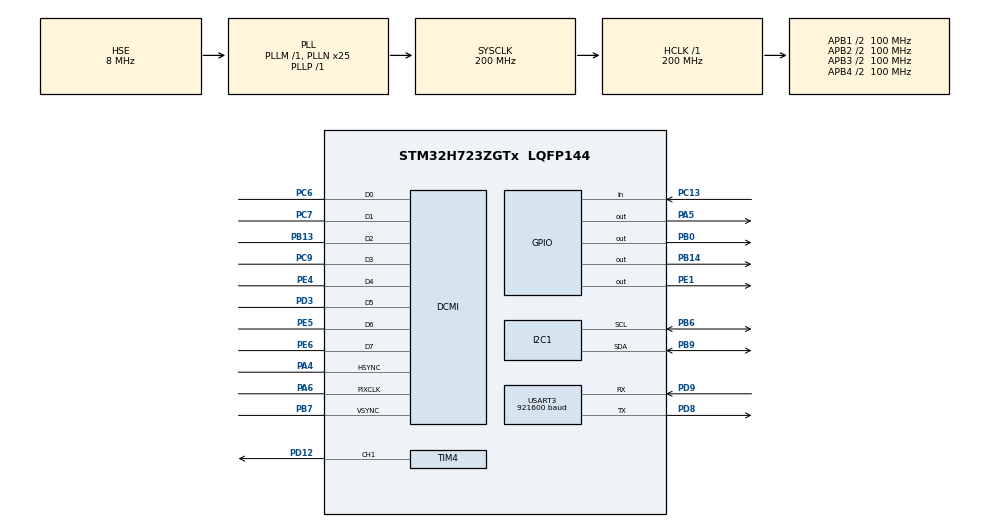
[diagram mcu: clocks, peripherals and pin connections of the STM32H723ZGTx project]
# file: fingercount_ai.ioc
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CORTEX_M7.CPU_DCache=Enabled
CORTEX_M7.CPU_ICache=Enabled
CORTEX_M7.default_mode_Activation=1
DCMI.PCKPolarity=DCMI_PCKPOLARITY_RISING
DCMI.VSPolarity=DCMI_VSPOLARITY_HIGH
Dma.DCMI.0.Direction=DMA_PERIPH_TO_MEMORY
Dma.DCMI.0.EventEnable=DISABLE
Dma.DCMI.0.FIFOMode=DMA_FIFOMODE_DISABLE
Dma.DCMI.0.Instance=DMA1_Stream0
Dma.DCMI.0.MemDataAlignment=DMA_MDATAALIGN_WORD
Dma.DCMI.0.MemInc=DMA_MINC_ENABLE
Dma.DCMI.0.Mode=DMA_NORMAL
Dma.DCMI.0.PeriphDataAlignment=DMA_PDATAALIGN_WORD
Dma.DCMI.0.PeriphInc=DMA_PINC_DISABLE
Dma.DCMI.0.Polarity=HAL_DMAMUX_REQ_GEN_RISING
Dma.DCMI.0.Priority=DMA_PRIORITY_HIGH
Dma.DCMI.0.RequestNumber=1
Dma.DCMI.0.SignalID=NONE
Dma.DCMI.0.SyncEnable=DISABLE
Dma.DCMI.0.SyncPolarity=HAL_DMAMUX_SYNC_NO_EVENT
Dma.DCMI.0.SyncRequestNumber=1
Dma.DCMI.0.SyncSignalID=NONE
Dma.Request0=DCMI
FREERTOS.Tasks01=defaultTask,24,128,StartDefaultTask,Default,NULL,Dynamic,NULL,NULL;ledTask01,8,256,StartTask_Led,Default,NULL,Dynamic,NULL,NULL;aiTask02,8,512,StartTask_AI,Default,NULL,Dynamic,NULL,NULL
I2C1.Timing=0x10C0ECFF
Mcu.Family=STM32H7
Mcu.Name=STM32H723ZGTx
Mcu.Package=LQFP144
NUCLEO-H723ZG.BUTTON=1
NUCLEO-H723ZG.LD1=true
NUCLEO-H723ZG.LD2=true
NUCLEO-H723ZG.LD3=true
NUCLEO-H723ZG.VCP=false
NVIC.DCMI_PSSI_IRQn=true\:5\:0\:false\:false\:true\:true\:true\:true\:true
NVIC.DMA1_Stream0_IRQn=true\:5\:0\:false\:false\:true\:true\:false\:true\:true
NVIC.EXTI15_10_IRQn=true\:5\:0\:false\:false\:true\:true\:false\:true\:true
NVIC.PriorityGroup=NVIC_PRIORITYGROUP_4
PA13(JTMS/SWDIO).GPIO_Label=SWDIO
PA13(JTMS/SWDIO).Signal=DEBUG_JTMS-SWDIO
PA14(JTCK/SWCLK).GPIO_Label=SWCLK
PA14(JTCK/SWCLK).Signal=DEBUG_JTCK-SWCLK
PA4.Mode=Slave_8_bits_External_Synchro
PA4.Signal=DCMI_HSYNC
PA5.Signal=GPIO_Output
PA6.Mode=Slave_8_bits_External_Synchro
PA6.Signal=DCMI_PIXCLK
PB0.Signal=GPIO_Output
PB13.Mode=Slave_8_bits_External_Synchro
PB13.Signal=DCMI_D2
PB14.Signal=GPIO_Output
PB6.GPIO_Pu=GPIO_PULLUP
PB6.Mode=I2C
PB6.Signal=I2C1_SCL
PB7.Mode=Slave_8_bits_External_Synchro
PB7.Signal=DCMI_VSYNC
PB9.GPIO_Pu=GPIO_PULLUP
PB9.Mode=I2C
PB9.Signal=I2C1_SDA
PC13.Signal=GPIO_Input
PC14-OSC32_IN.Signal=RCC_OSC32_IN
PC15-OSC32_OUT.Signal=RCC_OSC32_OUT
PC6.Mode=Slave_8_bits_External_Synchro
PC6.Signal=DCMI_D0
PC7.Mode=Slave_8_bits_External_Synchro
PC7.Signal=DCMI_D1
PC9.Mode=Slave_8_bits_External_Synchro
PC9.Signal=DCMI_D3
PD12.Signal=S_TIM4_CH1
PD3.Mode=Slave_8_bits_External_Synchro
PD3.Signal=DCMI_D5
PD8.Mode=Asynchronous
PD8.Signal=USART3_TX
PD9.Mode=Asynchronous
PD9.Signal=USART3_RX
PE1.Signal=GPIO_Output
PE4.Mode=Slave_8_bits_External_Synchro
PE4.Signal=DCMI_D4
PE5.Mode=Slave_8_bits_External_Synchro
PE5.Signal=DCMI_D6
PE6.Mode=Slave_8_bits_External_Synchro
PE6.Signal=DCMI_D7
PH0-OSC_IN.Mode=HSE-External-Clock-Source
PH0-OSC_IN.Signal=RCC_OSC_IN
ProjectManager.HeapSize=0x800
ProjectManager.StackSize=0x800
ProjectManager.TargetToolchain=STM32CubeIDE
RCC.ADCFreq_Value=76000000
RCC.APB1Freq_Value=100000000
RCC.APB2Freq_Value=100000000
RCC.APB3Freq_Value=100000000
RCC.APB4Freq_Value=100000000
RCC.CortexFreq_Value=200000000
RCC.D1PPRE=RCC_APB3_DIV2
RCC.D2PPRE1=RCC_APB1_DIV2
RCC.D2PPRE2=RCC_APB2_DIV2
RCC.D3PPRE=RCC_APB4_DIV2
RCC.DIVM1=1
RCC.DIVM2=1
RCC.DIVN1=25
RCC.DIVN2=19
RCC.DIVP1=1
RCC.DIVQ1=4
RCC.HCLKFreq_Value=200000000
RCC.HSE_VALUE=8000000
RCC.PLL2FRACN=0
RCC.PLL3FRACN=0
RCC.PLLFRACN=0
RCC.PLLSourceVirtual=RCC_PLLSOURCE_HSE
RCC.SYSCLKFreq_VALUE=200000000
RCC.SYSCLKSource=RCC_SYSCLKSOURCE_PLLCLK
RCC.USBCLockSelection=RCC_USBCLKSOURCE_HSI48
RCC.USBFreq_Value=48000000
SH.S_TIM4_CH1.0=TIM4_CH1,PWM Generation1 CH1
STMicroelectronics.X-CUBE-AI.10.2.0.ActivationBufferSizeList=48432
STMicroelectronics.X-CUBE-AI.10.2.0.ActivationBuffers=pool0
STMicroelectronics.X-CUBE-AI.10.2.0.ActivationNames=pool0
STMicroelectronics.X-CUBE-AI.10.2.0.ActivationSizes=AI_NETWORK_DATA_ACTIVATION_1_SIZE
STMicroelectronics.X-CUBE-AI.10.2.0.HeapSize=0x800
STMicroelectronics.X-CUBE-AI.10.2.0.InternalRamActivationBufferMaxSize=AI_NETWORK_DATA_ACTIVATIONS_SIZE
STMicroelectronics.X-CUBE-AI.10.2.0.LatestDirectoryUsed-99570b1be554b7fa2a6b14e97a9e13e3332e7accc0931dcad5117edd68cd8eb1=/home/we/STM32CubeIDE/workspace_1.19.0/python/creation_models_py/src/models
STMicroelectronics.X-CUBE-AI.10.2.0.MaximumNumberOfInputLayer=1
STMicroelectronics.X-CUBE-AI.10.2.0.MaximumNumberOfOutputLayer=1
STMicroelectronics.X-CUBE-AI.10.2.0.MaximumSizeOfInputLayer=1
STMicroelectronics.X-CUBE-AI.10.2.0.MaximumSizeOfOutputLayer=1
STMicroelectronics.X-CUBE-AI.10.2.0.ModelActualCompression-99570b1be554b7fa2a6b14e97a9e13e3332e7accc0931dcad5117edd68cd8eb1=0.0
STMicroelectronics.X-CUBE-AI.10.2.0.ModelCompression-99570b1be554b7fa2a6b14e97a9e13e3332e7accc0931dcad5117edd68cd8eb1=None
STMicroelectronics.X-CUBE-AI.10.2.0.ModelFlashOccupation-99570b1be554b7fa2a6b14e97a9e13e3332e7accc0931dcad5117edd68cd8eb1=463392
STMicroelectronics.X-CUBE-AI.10.2.0.ModelHashList=99570b1be554b7fa2a6b14e97a9e13e3332e7accc0931dcad5117edd68cd8eb1
STMicroelectronics.X-CUBE-AI.10.2.0.ModelKind-99570b1be554b7fa2a6b14e97a9e13e3332e7accc0931dcad5117edd68cd8eb1=TFLITE
STMicroelectronics.X-CUBE-AI.10.2.0.ModelMacc-99570b1be554b7fa2a6b14e97a9e13e3332e7accc0931dcad5117edd68cd8eb1=18615568
STMicroelectronics.X-CUBE-AI.10.2.0.ModelName-99570b1be554b7fa2a6b14e97a9e13e3332e7accc0931dcad5117edd68cd8eb1=network
STMicroelectronics.X-CUBE-AI.10.2.0.ModelNameList=network
STMicroelectronics.X-CUBE-AI.10.2.0.ModelRamOccupation-99570b1be554b7fa2a6b14e97a9e13e3332e7accc0931dcad5117edd68cd8eb1=48432
STMicroelectronics.X-CUBE-AI.10.2.0.ModelStructureFile-99570b1be554b7fa2a6b14e97a9e13e3332e7accc0931dcad5117edd68cd8eb1=/home/we/STM32CubeIDE/workspace_1.19.0/python/creation_models_py/src/models/finger_int8.tflite
STMicroelectronics.X-CUBE-AI.10.2.0.ModelType-99570b1be554b7fa2a6b14e97a9e13e3332e7accc0931dcad5117edd68cd8eb1=STM32Cube.AI MCU runtime
STMicroelectronics.X-CUBE-AI.10.2.0.ReadyForCodeGeneration=true
STMicroelectronics.X-CUBE-AI.10.2.0.StackSize=0x800
STMicroelectronics.X-CUBE-AI.10.2.0.WorkingBufferStartAddrList=0xFFFFFFFF
STMicroelectronics.X-CUBE-AI.10.2.0.XAaCUBEAaAICcArtificialOoIntelligenceJjCore=true
STMicroelectronics.X-CUBE-AI.10.2.0.copyWeightToRam=false
STMicroelectronics.X-CUBE-AI.10.2.0.copyWeightToRam-99570b1be554b7fa2a6b14e97a9e13e3332e7accc0931dcad5117edd68cd8eb1=false
STMicroelectronics.X-CUBE-AI.10.2.0.customLayerConfigEnabled=false
STMicroelectronics.X-CUBE-AI.10.2.0.customLayerConfigEnabled-99570b1be554b7fa2a6b14e97a9e13e3332e7accc0931dcad5117edd68cd8eb1=false
STMicroelectronics.X-CUBE-AI.10.2.0.noOnnxIoTranspose=false
STMicroelectronics.X-CUBE-AI.10.2.0.noOnnxIoTranspose-99570b1be554b7fa2a6b14e97a9e13e3332e7accc0931dcad5117edd68cd8eb1=false
STMicroelectronics.X-CUBE-AI.10.2.0.useInputAllocation=true
STMicroelectronics.X-CUBE-AI.10.2.0.useInputAllocation-99570b1be554b7fa2a6b14e97a9e13e3332e7accc0931dcad5117edd68cd8eb1=true
STMicroelectronics.X-CUBE-AI.10.2.0.useOutputAllocation=true
STMicroelectronics.X-CUBE-AI.10.2.0.useOutputAllocation-99570b1be554b7fa2a6b14e97a9e13e3332e7accc0931dcad5117edd68cd8eb1=true
TIM4.AutoReloadPreload=TIM_AUTORELOAD_PRELOAD_DISABLE
TIM4.Channel-PWM\ Generation1\ CH1=TIM_CHANNEL_1
TIM4.Period=24
TIM4.Pulse-PWM\ Generation1\ CH1=12
USART3.BaudRate=921600
USART3.VirtualMode-Asynchronous=VM_ASYNC
VP_FREERTOS_VS_CMSIS_V2.Mode=CMSIS_V2
VP_MEMORYMAP_VS_MEMORYMAP.Mode=CurAppReg
VP_NUCLEO-H723ZG_VS_BSP_COMMON.Mode=COMMON
VP_STMicroelectronics.X-CUBE-AI_VS_ArtificialOoIntelligenceJjXAaCUBEAaAI_10.2.0.Mode=ArtificialOoIntelligenceJjXAaCUBEAaAI
VP_TIM4_VS_ClockSourceINT.Mode=Internal
board=NUCLEO-H723ZG

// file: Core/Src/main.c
/* USER CODE BEGIN Header */
/**
 ******************************************************************************
 * @file           : main.c
 * @brief          : Main program body
 ******************************************************************************
 * @attention
 *
 * Copyright (c) 2025 STMicroelectronics.
 * All rights reserved.
 *
 * This software is licensed under terms that can be found in the LICENSE file
 * in the root directory of this software component.
 * If no LICENSE file comes with this software, it is provided AS-IS.
 *
 ******************************************************************************
 */
/* USER CODE END Header */
#include "main.h"
#include "cmsis_os.h"

/* USER CODE BEGIN Includes */
#include "ov7670.h"
/* USER CODE END Includes */

DCMI_HandleTypeDef hdcmi;
DMA_HandleTypeDef hdma_dcmi;

I2C_HandleTypeDef hi2c1;

TIM_HandleTypeDef htim4;

UART_HandleTypeDef huart3;

/* Definitions for defaultTask */
osThreadId_t defaultTaskHandle;
const osThreadAttr_t defaultTask_attributes = {
  .name = "defaultTask",
  .stack_size = 128 * 4,
  .priority = (osPriority_t) osPriorityNormal,
};
/* Definitions for ledTask01 */
osThreadId_t ledTask01Handle;
const osThreadAttr_t ledTask01_attributes = {
  .name = "ledTask01",
  .stack_size = 256 * 4,
  .priority = (osPriority_t) osPriorityLow,
};
/* Definitions for aiTask02 */
osThreadId_t aiTask02Handle;
const osThreadAttr_t aiTask02_attributes = {
  .name = "aiTask02",
  .stack_size = 512 * 4,
  .priority = (osPriority_t) osPriorityLow,
};
/* USER CODE BEGIN PV */
volatile uint8_t test_a = 0;
uint8_t test_b = 0;
uint8_t test_c = 0;
uint8_t test_d = 0;
volatile uint32_t test_e = 0;

static void onFrame(uint32_t v)
{
  (void)v;
  test_e++;
  if (test_a == 0 && test_e % 5 == 0)
  {
    test_a = 1;
  }
}
static HAL_StatusTypeDef uart_send_all(UART_HandleTypeDef *huart,
                                       const uint8_t *buf,
                                       uint32_t len)
{
  while (len > 0)
  {
    uint16_t chunk = (len > 32768) ? 32768 : (uint16_t)len; // 65535 이하면 됨(안전하게 32768)
    HAL_StatusTypeDef st = HAL_UART_Transmit(huart, (uint8_t *)buf, chunk, HAL_MAX_DELAY);
    if (st != HAL_OK)
      return st;

    buf += chunk;
    len -= chunk;
  }
  test_a = 0;
  return HAL_OK;
}

/* USER CODE END PV */

void SystemClock_Config(void);
static void MPU_Config(void);
static void MX_GPIO_Init(void);
static void MX_DMA_Init(void);
static void MX_I2C1_Init(void);
static void MX_DCMI_Init(void);
static void MX_TIM4_Init(void);
static void MX_USART3_UART_Init(void);
void StartDefaultTask(void *argument);
void StartTask_Led(void *argument);
void StartTask_AI(void *argument);

int main(void)
{

  /* MPU Configuration--------------------------------------------------------*/
  MPU_Config();

  /* Enable the CPU Cache */

  /* Enable I-Cache---------------------------------------------------------*/
  SCB_EnableICache();

  /* Enable D-Cache---------------------------------------------------------*/
  SCB_EnableDCache();

  /* MCU Configuration--------------------------------------------------------*/

  /* Reset of all peripherals, Initializes the Flash interface and the Systick. */
  HAL_Init();

  /* Configure the system clock */
  SystemClock_Config();

  /* Initialize all configured peripherals */
  MX_GPIO_Init();
  MX_DMA_Init();
  MX_I2C1_Init();
  MX_DCMI_Init();
  MX_TIM4_Init();
  MX_USART3_UART_Init();
  /* USER CODE BEGIN 2 */
  // 타이머 시작 (ov7670용 외부 PCLK)
  HAL_TIM_PWM_Start(&htim4, TIM_CHANNEL_1);

  // OV7670 카메라 초기화
  ov7670_registerCallback(NULL, onFrame); // Vsync 콜백 등록, Hsync는 사용 안함
  test_a = ov7670_init(&hdcmi, &hdma_dcmi, &hi2c1);
  test_b = ov7670_config(0);
  test_c = ov7670_startCap(OV7670_CAP_CONTINUOUS, (uint32_t)frameBuf); // frameBuf에 영상 데이터 저장
  // test_c = ov7670_startCap(OV7670_CAP_SINGLE_FRAME, (uint32_t)frameBuf); // frameBuf에 영상 데이터 저장

  // CAM_BringupInit();

  /* USER CODE END 2 */

  /* Init scheduler */
  osKernelInitialize();

  /* Create the thread(s) */
  /* creation of defaultTask */
  defaultTaskHandle = osThreadNew(StartDefaultTask, NULL, &defaultTask_attributes);

  /* creation of ledTask01 */
  ledTask01Handle = osThreadNew(StartTask_Led, NULL, &ledTask01_attributes);

  /* creation of aiTask02 */
  aiTask02Handle = osThreadNew(StartTask_AI, NULL, &aiTask02_attributes);

  /* Initialize leds */
  BSP_LED_Init(LED_GREEN);
  BSP_LED_Init(LED_YELLOW);
  BSP_LED_Init(LED_RED);

  /* Initialize USER push-button, will be used to trigger an interrupt each time it's pressed.*/
  BSP_PB_Init(BUTTON_USER, BUTTON_MODE_EXTI);

  /* Start scheduler */
  osKernelStart();

  /* We should never get here as control is now taken by the scheduler */

  /* Infinite loop */
  while (1)
  {

  }
}

void SystemClock_Config(void)
{
  RCC_OscInitTypeDef RCC_OscInitStruct = {0};
  RCC_ClkInitTypeDef RCC_ClkInitStruct = {0};

  /** Supply configuration update enable
  */
  HAL_PWREx_ConfigSupply(PWR_LDO_SUPPLY);

  /** Configure the main internal regulator output voltage
  */
  __HAL_PWR_VOLTAGESCALING_CONFIG(PWR_REGULATOR_VOLTAGE_SCALE1);

  while(!__HAL_PWR_GET_FLAG(PWR_FLAG_VOSRDY)) {}

  /** Initializes the RCC Oscillators according to the specified parameters
  * in the RCC_OscInitTypeDef structure.
  */
  RCC_OscInitStruct.OscillatorType = RCC_OSCILLATORTYPE_HSE;
  RCC_OscInitStruct.HSEState = RCC_HSE_BYPASS;
  RCC_OscInitStruct.PLL.PLLState = RCC_PLL_ON;
  RCC_OscInitStruct.PLL.PLLSource = RCC_PLLSOURCE_HSE;
  RCC_OscInitStruct.PLL.PLLM = 1;
  RCC_OscInitStruct.PLL.PLLN = 25;
  RCC_OscInitStruct.PLL.PLLP = 1;
  RCC_OscInitStruct.PLL.PLLQ = 4;
  RCC_OscInitStruct.PLL.PLLR = 2;
  RCC_OscInitStruct.PLL.PLLRGE = RCC_PLL1VCIRANGE_3;
  RCC_OscInitStruct.PLL.PLLVCOSEL = RCC_PLL1VCOWIDE;
  RCC_OscInitStruct.PLL.PLLFRACN = 0;
  if (HAL_RCC_OscConfig(&RCC_OscInitStruct) != HAL_OK)
  {
    Error_Handler();
  }

  /** Initializes the CPU, AHB and APB buses clocks
  */
  RCC_ClkInitStruct.ClockType = RCC_CLOCKTYPE_HCLK|RCC_CLOCKTYPE_SYSCLK
                              |RCC_CLOCKTYPE_PCLK1|RCC_CLOCKTYPE_PCLK2
                              |RCC_CLOCKTYPE_D3PCLK1|RCC_CLOCKTYPE_D1PCLK1;
  RCC_ClkInitStruct.SYSCLKSource = RCC_SYSCLKSOURCE_PLLCLK;
  RCC_ClkInitStruct.SYSCLKDivider = RCC_SYSCLK_DIV1;
  RCC_ClkInitStruct.AHBCLKDivider = RCC_HCLK_DIV1;
  RCC_ClkInitStruct.APB3CLKDivider = RCC_APB3_DIV2;
  RCC_ClkInitStruct.APB1CLKDivider = RCC_APB1_DIV2;
  RCC_ClkInitStruct.APB2CLKDivider = RCC_APB2_DIV2;
  RCC_ClkInitStruct.APB4CLKDivider = RCC_APB4_DIV2;

  if (HAL_RCC_ClockConfig(&RCC_ClkInitStruct, FLASH_LATENCY_2) != HAL_OK)
  {
    Error_Handler();
  }
}

static void MX_DCMI_Init(void)
{

  hdcmi.Instance = DCMI;
  hdcmi.Init.SynchroMode = DCMI_SYNCHRO_HARDWARE;
  hdcmi.Init.PCKPolarity = DCMI_PCKPOLARITY_RISING;
  hdcmi.Init.VSPolarity = DCMI_VSPOLARITY_HIGH;
  hdcmi.Init.HSPolarity = DCMI_HSPOLARITY_LOW;
  hdcmi.Init.CaptureRate = DCMI_CR_ALL_FRAME;
  hdcmi.Init.ExtendedDataMode = DCMI_EXTEND_DATA_8B;
  hdcmi.Init.JPEGMode = DCMI_JPEG_DISABLE;
  hdcmi.Init.ByteSelectMode = DCMI_BSM_ALL;
  hdcmi.Init.ByteSelectStart = DCMI_OEBS_ODD;
  hdcmi.Init.LineSelectMode = DCMI_LSM_ALL;
  hdcmi.Init.LineSelectStart = DCMI_OELS_ODD;
  if (HAL_DCMI_Init(&hdcmi) != HAL_OK)
  {
    Error_Handler();
  }

}

static void MX_I2C1_Init(void)
{

  hi2c1.Instance = I2C1;
  hi2c1.Init.Timing = 0x10C0ECFF;
  hi2c1.Init.OwnAddress1 = 0;
  hi2c1.Init.AddressingMode = I2C_ADDRESSINGMODE_7BIT;
  hi2c1.Init.DualAddressMode = I2C_DUALADDRESS_DISABLE;
  hi2c1.Init.OwnAddress2 = 0;
  hi2c1.Init.OwnAddress2Masks = I2C_OA2_NOMASK;
  hi2c1.Init.GeneralCallMode = I2C_GENERALCALL_DISABLE;
  hi2c1.Init.NoStretchMode = I2C_NOSTRETCH_DISABLE;
  if (HAL_I2C_Init(&hi2c1) != HAL_OK)
  {
    Error_Handler();
  }

  /** Configure Analogue filter
  */
  if (HAL_I2CEx_ConfigAnalogFilter(&hi2c1, I2C_ANALOGFILTER_ENABLE) != HAL_OK)
  {
    Error_Handler();
  }

  /** Configure Digital filter
  */
  if (HAL_I2CEx_ConfigDigitalFilter(&hi2c1, 0) != HAL_OK)
  {
    Error_Handler();
  }

}

static void MX_TIM4_Init(void)
{

  TIM_ClockConfigTypeDef sClockSourceConfig = {0};
  TIM_MasterConfigTypeDef sMasterConfig = {0};
  TIM_OC_InitTypeDef sConfigOC = {0};

  htim4.Instance = TIM4;
  htim4.Init.Prescaler = 0;
  htim4.Init.CounterMode = TIM_COUNTERMODE_UP;
  htim4.Init.Period = 24;
  htim4.Init.ClockDivision = TIM_CLOCKDIVISION_DIV1;
  htim4.Init.AutoReloadPreload = TIM_AUTORELOAD_PRELOAD_DISABLE;
  if (HAL_TIM_Base_Init(&htim4) != HAL_OK)
  {
    Error_Handler();
  }
  sClockSourceConfig.ClockSource = TIM_CLOCKSOURCE_INTERNAL;
  if (HAL_TIM_ConfigClockSource(&htim4, &sClockSourceConfig) != HAL_OK)
  {
    Error_Handler();
  }
  if (HAL_TIM_PWM_Init(&htim4) != HAL_OK)
  {
    Error_Handler();
  }
  sMasterConfig.MasterOutputTrigger = TIM_TRGO_RESET;
  sMasterConfig.MasterSlaveMode = TIM_MASTERSLAVEMODE_DISABLE;
  if (HAL_TIMEx_MasterConfigSynchronization(&htim4, &sMasterConfig) != HAL_OK)
  {
    Error_Handler();
  }
  sConfigOC.OCMode = TIM_OCMODE_PWM1;
  sConfigOC.Pulse = 12;
  sConfigOC.OCPolarity = TIM_OCPOLARITY_HIGH;
  sConfigOC.OCFastMode = TIM_OCFAST_DISABLE;
  if (HAL_TIM_PWM_ConfigChannel(&htim4, &sConfigOC, TIM_CHANNEL_1) != HAL_OK)
  {
    Error_Handler();
  }
  HAL_TIM_MspPostInit(&htim4);

}

static void MX_USART3_UART_Init(void)
{

  huart3.Instance = USART3;
  huart3.Init.BaudRate = 921600;
  huart3.Init.WordLength = UART_WORDLENGTH_8B;
  huart3.Init.StopBits = UART_STOPBITS_1;
  huart3.Init.Parity = UART_PARITY_NONE;
  huart3.Init.Mode = UART_MODE_TX_RX;
  huart3.Init.HwFlowCtl = UART_HWCONTROL_NONE;
  huart3.Init.OverSampling = UART_OVERSAMPLING_16;
  huart3.Init.OneBitSampling = UART_ONE_BIT_SAMPLE_DISABLE;
  huart3.Init.ClockPrescaler = UART_PRESCALER_DIV1;
  huart3.AdvancedInit.AdvFeatureInit = UART_ADVFEATURE_NO_INIT;
  if (HAL_UART_Init(&huart3) != HAL_OK)
  {
    Error_Handler();
  }
  if (HAL_UARTEx_SetTxFifoThreshold(&huart3, UART_TXFIFO_THRESHOLD_1_8) != HAL_OK)
  {
    Error_Handler();
  }
  if (HAL_UARTEx_SetRxFifoThreshold(&huart3, UART_RXFIFO_THRESHOLD_1_8) != HAL_OK)
  {
    Error_Handler();
  }
  if (HAL_UARTEx_DisableFifoMode(&huart3) != HAL_OK)
  {
    Error_Handler();
  }

}

static void MX_DMA_Init(void)
{

  /* DMA controller clock enable */
  __HAL_RCC_DMA1_CLK_ENABLE();

  /* DMA interrupt init */
  /* DMA1_Stream0_IRQn interrupt configuration */
  HAL_NVIC_SetPriority(DMA1_Stream0_IRQn, 5, 0);
  HAL_NVIC_EnableIRQ(DMA1_Stream0_IRQn);

}

static void MX_GPIO_Init(void)
{
  GPIO_InitTypeDef GPIO_InitStruct = {0};

  /* GPIO Ports Clock Enable */
  __HAL_RCC_GPIOE_CLK_ENABLE();
  __HAL_RCC_GPIOC_CLK_ENABLE();
  __HAL_RCC_GPIOH_CLK_ENABLE();
  __HAL_RCC_GPIOA_CLK_ENABLE();
  __HAL_RCC_GPIOB_CLK_ENABLE();
  __HAL_RCC_GPIOD_CLK_ENABLE();

  /*Configure GPIO pin Output Level */
  HAL_GPIO_WritePin(GPIOA, GPIO_PIN_5, GPIO_PIN_RESET);

  /*Configure GPIO pin Output Level */
  HAL_GPIO_WritePin(GPIOB, GPIO_PIN_0|GPIO_PIN_14, GPIO_PIN_RESET);

  /*Configure GPIO pin Output Level */
  HAL_GPIO_WritePin(GPIOE, GPIO_PIN_1, GPIO_PIN_RESET);

  /*Configure GPIO pin : PC13 */
  GPIO_InitStruct.Pin = GPIO_PIN_13;
  GPIO_InitStruct.Mode = GPIO_MODE_INPUT;
  GPIO_InitStruct.Pull = GPIO_NOPULL;
  HAL_GPIO_Init(GPIOC, &GPIO_InitStruct);

  /*Configure GPIO pin : PA5 */
  GPIO_InitStruct.Pin = GPIO_PIN_5;
  GPIO_InitStruct.Mode = GPIO_MODE_OUTPUT_PP;
  GPIO_InitStruct.Pull = GPIO_NOPULL;
  GPIO_InitStruct.Speed = GPIO_SPEED_FREQ_LOW;
  HAL_GPIO_Init(GPIOA, &GPIO_InitStruct);

  /*Configure GPIO pins : PB0 PB14 */
  GPIO_InitStruct.Pin = GPIO_PIN_0|GPIO_PIN_14;
  GPIO_InitStruct.Mode = GPIO_MODE_OUTPUT_PP;
  GPIO_InitStruct.Pull = GPIO_NOPULL;
  GPIO_InitStruct.Speed = GPIO_SPEED_FREQ_LOW;
  HAL_GPIO_Init(GPIOB, &GPIO_InitStruct);

  /*Configure GPIO pin : PE1 */
  GPIO_InitStruct.Pin = GPIO_PIN_1;
  GPIO_InitStruct.Mode = GPIO_MODE_OUTPUT_PP;
  GPIO_InitStruct.Pull = GPIO_NOPULL;
  GPIO_InitStruct.Speed = GPIO_SPEED_FREQ_LOW;
  HAL_GPIO_Init(GPIOE, &GPIO_InitStruct);

}

void StartDefaultTask(void *argument)
{
  for (;;)
  {
    osDelay(1);
  }
}

void StartTask_Led(void *argument)
{
  /* USER CODE BEGIN StartTask_Led */

  /* Infinite loop */
  for (;;)
  {
    // HAL_GPIO_TogglePin(GPIOB, GPIO_PIN_0); // LED 토글
    // HAL_GPIO_WritePin(GPIOB, GPIO_PIN_0, GPIO_PIN_SET); // LED ON
    // osDelay(1000);
    // HAL_GPIO_WritePin(GPIOB, GPIO_PIN_0, GPIO_PIN_RESET); // LED OFF
    // osDelay(1000);

    // test_a = CAM_StartSnapshot();
    // test_b++;
    // // test_c = CAM_Stop();

    // const char msg[] = "UART3 OK\r\n";
    // HAL_UART_Transmit(&huart3, (uint8_t *)msg, sizeof(msg) - 1, HAL_MAX_DELAY);

    const uint32_t bytes = 153600;

    if (test_a)
    {
      test_a = 0;
      // 프레임 시작 마커 (고정 패턴)
      const uint8_t header[4] = {0xAA, 0x55, 0xAA, 0x55};

      HAL_UART_Transmit(&huart3, header, 4, HAL_MAX_DELAY);

      // HAL_UART_Transmit(&huart3,
      //                   (uint8_t *)frameBuf,
      //                   153600,
      //                   HAL_MAX_DELAY);

      uart_send_all(&huart3,
                    (uint8_t *)frameBuf,
                    153600);
    }

    osDelay(100);
  }
  /* USER CODE END StartTask_Led */
}

void StartTask_AI(void *argument)
{
  /* USER CODE BEGIN StartTask_AI */
  /* Infinite loop */
  for (;;)
  {
    osDelay(10);
  }
  /* USER CODE END StartTask_AI */
}

 /* MPU Configuration */

void MPU_Config(void)
{
  MPU_Region_InitTypeDef MPU_InitStruct = {0};

  /* Disables the MPU */
  HAL_MPU_Disable();

  /** Initializes and configures the Region and the memory to be protected
  */
  MPU_InitStruct.Enable = MPU_REGION_ENABLE;
  MPU_InitStruct.Number = MPU_REGION_NUMBER0;
  MPU_InitStruct.BaseAddress = 0x0;
  MPU_InitStruct.Size = MPU_REGION_SIZE_4GB;
  MPU_InitStruct.SubRegionDisable = 0x87;
  MPU_InitStruct.TypeExtField = MPU_TEX_LEVEL0;
  MPU_InitStruct.AccessPermission = MPU_REGION_NO_ACCESS;
  MPU_InitStruct.DisableExec = MPU_INSTRUCTION_ACCESS_DISABLE;
  MPU_InitStruct.IsShareable = MPU_ACCESS_SHAREABLE;
  MPU_InitStruct.IsCacheable = MPU_ACCESS_NOT_CACHEABLE;
  MPU_InitStruct.IsBufferable = MPU_ACCESS_NOT_BUFFERABLE;

  HAL_MPU_ConfigRegion(&MPU_InitStruct);
  /* Enables the MPU */
  HAL_MPU_Enable(MPU_PRIVILEGED_DEFAULT);

}

void Error_Handler(void)
{
  __disable_irq();
  while (1)
  {
  }
}
